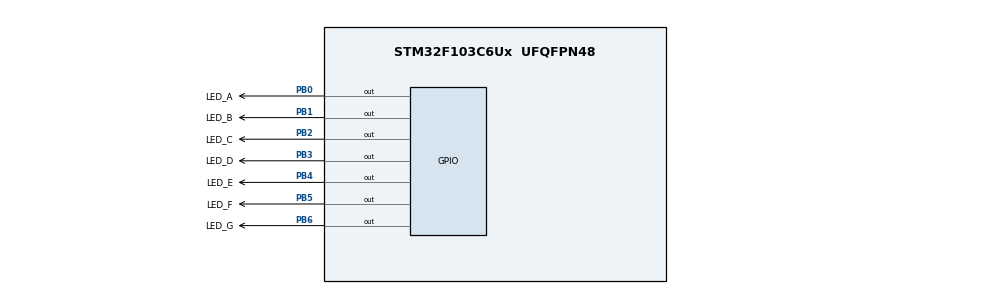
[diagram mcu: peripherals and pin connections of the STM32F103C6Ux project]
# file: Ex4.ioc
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Mcu.Family=STM32F1
Mcu.Name=STM32F103C6Ux
Mcu.Package=UFQFPN48
NVIC.PriorityGroup=NVIC_PRIORITYGROUP_4
PB0.GPIO_Label=LED_A
PB0.Signal=GPIO_Output
PB1.GPIO_Label=LED_B
PB1.Signal=GPIO_Output
PB2.GPIO_Label=LED_C
PB2.Signal=GPIO_Output
PB3.GPIO_Label=LED_D
PB3.Signal=GPIO_Output
PB4.GPIO_Label=LED_E
PB4.Signal=GPIO_Output
PB5.GPIO_Label=LED_F
PB5.Signal=GPIO_Output
PB6.GPIO_Label=LED_G
PB6.Signal=GPIO_Output
ProjectManager.HeapSize=0x200
ProjectManager.StackSize=0x400
ProjectManager.TargetToolchain=STM32CubeIDE
RCC.APB1Freq_Value=8000000
RCC.APB2Freq_Value=8000000
VP_SYS_VS_ND.Mode=No_Debug
board=custom

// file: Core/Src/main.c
/* USER CODE BEGIN Header */
/**
  ******************************************************************************
  * @file           : main.c
  * @brief          : Main program body
  ******************************************************************************
  * @attention
  *
  * <h2><center>&copy; Copyright (c) 2022 STMicroelectronics.
  * All rights reserved.</center></h2>
  *
  * This software component is licensed by ST under BSD 3-Clause license,
  * the "License"; You may not use this file except in compliance with the
  * License. You may obtain a copy of the License at:
  *                        opensource.org/licenses/BSD-3-Clause
  *
  ******************************************************************************
  */
/* USER CODE END Header */
#include "main.h"

void SystemClock_Config(void);
static void MX_GPIO_Init(void);

/* USER CODE BEGIN 0 */
void display7SEG(int num){
	if (num == 0){
		HAL_GPIO_WritePin(LED_A_GPIO_Port, LED_A_Pin, GPIO_PIN_RESET);
		HAL_GPIO_WritePin(LED_B_GPIO_Port, LED_B_Pin, GPIO_PIN_RESET);
		HAL_GPIO_WritePin(LED_C_GPIO_Port, LED_C_Pin, GPIO_PIN_RESET);
		HAL_GPIO_WritePin(LED_D_GPIO_Port, LED_D_Pin, GPIO_PIN_RESET);
		HAL_GPIO_WritePin(LED_E_GPIO_Port, LED_E_Pin, GPIO_PIN_RESET);
		HAL_GPIO_WritePin(LED_F_GPIO_Port, LED_F_Pin, GPIO_PIN_RESET);
		HAL_GPIO_WritePin(LED_G_GPIO_Port, LED_G_Pin, GPIO_PIN_SET);
	}
	else  if (num == 1){
		HAL_GPIO_WritePin(LED_A_GPIO_Port, LED_A_Pin, GPIO_PIN_SET);
		HAL_GPIO_WritePin(LED_B_GPIO_Port, LED_B_Pin, GPIO_PIN_RESET);
		HAL_GPIO_WritePin(LED_C_GPIO_Port, LED_C_Pin, GPIO_PIN_RESET);
		HAL_GPIO_WritePin(LED_D_GPIO_Port, LED_D_Pin, GPIO_PIN_SET);
		HAL_GPIO_WritePin(LED_E_GPIO_Port, LED_E_Pin, GPIO_PIN_SET);
		HAL_GPIO_WritePin(LED_F_GPIO_Port, LED_F_Pin, GPIO_PIN_SET);
		HAL_GPIO_WritePin(LED_G_GPIO_Port, LED_G_Pin, GPIO_PIN_SET);
	}
	else  if (num == 2){
		HAL_GPIO_WritePin(LED_A_GPIO_Port, LED_A_Pin, GPIO_PIN_RESET);
		HAL_GPIO_WritePin(LED_B_GPIO_Port, LED_B_Pin, GPIO_PIN_RESET);
		HAL_GPIO_WritePin(LED_C_GPIO_Port, LED_C_Pin, GPIO_PIN_SET);
		HAL_GPIO_WritePin(LED_D_GPIO_Port, LED_D_Pin, GPIO_PIN_RESET);
		HAL_GPIO_WritePin(LED_E_GPIO_Port, LED_E_Pin, GPIO_PIN_RESET);
		HAL_GPIO_WritePin(LED_F_GPIO_Port, LED_F_Pin, GPIO_PIN_SET);
		HAL_GPIO_WritePin(LED_G_GPIO_Port, LED_G_Pin, GPIO_PIN_RESET);
	}
	else  if (num == 3){
		HAL_GPIO_WritePin(LED_A_GPIO_Port, LED_A_Pin, GPIO_PIN_RESET);
		HAL_GPIO_WritePin(LED_B_GPIO_Port, LED_B_Pin, GPIO_PIN_RESET);
		HAL_GPIO_WritePin(LED_C_GPIO_Port, LED_C_Pin, GPIO_PIN_RESET);
		HAL_GPIO_WritePin(LED_D_GPIO_Port, LED_D_Pin, GPIO_PIN_RESET);
		HAL_GPIO_WritePin(LED_E_GPIO_Port, LED_E_Pin, GPIO_PIN_SET);
		HAL_GPIO_WritePin(LED_F_GPIO_Port, LED_F_Pin, GPIO_PIN_SET);
		HAL_GPIO_WritePin(LED_G_GPIO_Port, LED_G_Pin, GPIO_PIN_RESET);
	}
	else  if (num == 4){
		HAL_GPIO_WritePin(LED_A_GPIO_Port, LED_A_Pin, GPIO_PIN_SET);
		HAL_GPIO_WritePin(LED_B_GPIO_Port, LED_B_Pin, GPIO_PIN_RESET);
		HAL_GPIO_WritePin(LED_C_GPIO_Port, LED_C_Pin, GPIO_PIN_RESET);
		HAL_GPIO_WritePin(LED_D_GPIO_Port, LED_D_Pin, GPIO_PIN_SET);
		HAL_GPIO_WritePin(LED_E_GPIO_Port, LED_E_Pin, GPIO_PIN_SET);
		HAL_GPIO_WritePin(LED_F_GPIO_Port, LED_F_Pin, GPIO_PIN_RESET);
		HAL_GPIO_WritePin(LED_G_GPIO_Port, LED_G_Pin, GPIO_PIN_RESET);
	}
	else  if (num == 5){
		HAL_GPIO_WritePin(LED_A_GPIO_Port, LED_A_Pin, GPIO_PIN_RESET);
		HAL_GPIO_WritePin(LED_B_GPIO_Port, LED_B_Pin, GPIO_PIN_SET);
		HAL_GPIO_WritePin(LED_C_GPIO_Port, LED_C_Pin, GPIO_PIN_RESET);
		HAL_GPIO_WritePin(LED_D_GPIO_Port, LED_D_Pin, GPIO_PIN_RESET);
		HAL_GPIO_WritePin(LED_E_GPIO_Port, LED_E_Pin, GPIO_PIN_SET);
		HAL_GPIO_WritePin(LED_F_GPIO_Port, LED_F_Pin, GPIO_PIN_RESET);
		HAL_GPIO_WritePin(LED_G_GPIO_Port, LED_G_Pin, GPIO_PIN_RESET);
	}
	else  if (num == 6){
		HAL_GPIO_WritePin(LED_A_GPIO_Port, LED_A_Pin, GPIO_PIN_RESET);
		HAL_GPIO_WritePin(LED_B_GPIO_Port, LED_B_Pin, GPIO_PIN_SET);
		HAL_GPIO_WritePin(LED_C_GPIO_Port, LED_C_Pin, GPIO_PIN_RESET);
		HAL_GPIO_WritePin(LED_D_GPIO_Port, LED_D_Pin, GPIO_PIN_RESET);
		HAL_GPIO_WritePin(LED_E_GPIO_Port, LED_E_Pin, GPIO_PIN_RESET);
		HAL_GPIO_WritePin(LED_F_GPIO_Port, LED_F_Pin, GPIO_PIN_RESET);
		HAL_GPIO_WritePin(LED_G_GPIO_Port, LED_G_Pin, GPIO_PIN_RESET);
	}
	else  if (num == 7){
		HAL_GPIO_WritePin(LED_A_GPIO_Port, LED_A_Pin, GPIO_PIN_RESET);
		HAL_GPIO_WritePin(LED_B_GPIO_Port, LED_B_Pin, GPIO_PIN_RESET);
		HAL_GPIO_WritePin(LED_C_GPIO_Port, LED_C_Pin, GPIO_PIN_RESET);
		HAL_GPIO_WritePin(LED_D_GPIO_Port, LED_D_Pin, GPIO_PIN_SET);
		HAL_GPIO_WritePin(LED_E_GPIO_Port, LED_E_Pin, GPIO_PIN_SET);
		HAL_GPIO_WritePin(LED_F_GPIO_Port, LED_F_Pin, GPIO_PIN_SET);
		HAL_GPIO_WritePin(LED_G_GPIO_Port, LED_G_Pin, GPIO_PIN_SET);
	}
	else  if (num == 8){
		HAL_GPIO_WritePin(LED_A_GPIO_Port, LED_A_Pin, GPIO_PIN_RESET);
		HAL_GPIO_WritePin(LED_B_GPIO_Port, LED_B_Pin, GPIO_PIN_RESET);
		HAL_GPIO_WritePin(LED_C_GPIO_Port, LED_C_Pin, GPIO_PIN_RESET);
		HAL_GPIO_WritePin(LED_D_GPIO_Port, LED_D_Pin, GPIO_PIN_RESET);
		HAL_GPIO_WritePin(LED_E_GPIO_Port, LED_E_Pin, GPIO_PIN_RESET);
		HAL_GPIO_WritePin(LED_F_GPIO_Port, LED_F_Pin, GPIO_PIN_RESET);
		HAL_GPIO_WritePin(LED_G_GPIO_Port, LED_G_Pin, GPIO_PIN_RESET);
	}
	else  if (num == 9){
		HAL_GPIO_WritePin(LED_A_GPIO_Port, LED_A_Pin, GPIO_PIN_RESET);
		HAL_GPIO_WritePin(LED_B_GPIO_Port, LED_B_Pin, GPIO_PIN_RESET);
		HAL_GPIO_WritePin(LED_C_GPIO_Port, LED_C_Pin, GPIO_PIN_RESET);
		HAL_GPIO_WritePin(LED_D_GPIO_Port, LED_D_Pin, GPIO_PIN_RESET);
		HAL_GPIO_WritePin(LED_E_GPIO_Port, LED_E_Pin, GPIO_PIN_SET);
		HAL_GPIO_WritePin(LED_F_GPIO_Port, LED_F_Pin, GPIO_PIN_RESET);
		HAL_GPIO_WritePin(LED_G_GPIO_Port, LED_G_Pin, GPIO_PIN_RESET);
	}
}
/* USER CODE END 0 */

int main(void)
{

  /* MCU Configuration--------------------------------------------------------*/

  /* Reset of all peripherals, Initializes the Flash interface and the Systick. */
  HAL_Init();

  /* Configure the system clock */
  SystemClock_Config();

  /* Initialize all configured peripherals */
  MX_GPIO_Init();

  /* Infinite loop */
  /* USER CODE BEGIN WHILE */
int counter = 0;
  while (1)
  {
    /* USER CODE END WHILE */
	  if( counter >= 10) counter = 0;
	  display7SEG ( counter ++) ;
	  HAL_Delay (1000);
  }
}

void SystemClock_Config(void)
{
  RCC_OscInitTypeDef RCC_OscInitStruct = {0};
  RCC_ClkInitTypeDef RCC_ClkInitStruct = {0};

  /** Initializes the RCC Oscillators according to the specified parameters
  * in the RCC_OscInitTypeDef structure.
  */
  RCC_OscInitStruct.OscillatorType = RCC_OSCILLATORTYPE_HSI;
  RCC_OscInitStruct.HSIState = RCC_HSI_ON;
  RCC_OscInitStruct.HSICalibrationValue = RCC_HSICALIBRATION_DEFAULT;
  RCC_OscInitStruct.PLL.PLLState = RCC_PLL_NONE;
  if (HAL_RCC_OscConfig(&RCC_OscInitStruct) != HAL_OK)
  {
    Error_Handler();
  }
  /** Initializes the CPU, AHB and APB buses clocks
  */
  RCC_ClkInitStruct.ClockType = RCC_CLOCKTYPE_HCLK|RCC_CLOCKTYPE_SYSCLK
                              |RCC_CLOCKTYPE_PCLK1|RCC_CLOCKTYPE_PCLK2;
  RCC_ClkInitStruct.SYSCLKSource = RCC_SYSCLKSOURCE_HSI;
  RCC_ClkInitStruct.AHBCLKDivider = RCC_SYSCLK_DIV1;
  RCC_ClkInitStruct.APB1CLKDivider = RCC_HCLK_DIV1;
  RCC_ClkInitStruct.APB2CLKDivider = RCC_HCLK_DIV1;

  if (HAL_RCC_ClockConfig(&RCC_ClkInitStruct, FLASH_LATENCY_0) != HAL_OK)
  {
    Error_Handler();
  }
}

static void MX_GPIO_Init(void)
{
  GPIO_InitTypeDef GPIO_InitStruct = {0};

  /* GPIO Ports Clock Enable */
  __HAL_RCC_GPIOB_CLK_ENABLE();

  /*Configure GPIO pin Output Level */
  HAL_GPIO_WritePin(GPIOB, LED_A_Pin|LED_B_Pin|LED_C_Pin|LED_D_Pin
                          |LED_E_Pin|LED_F_Pin|LED_G_Pin, GPIO_PIN_RESET);

  /*Configure GPIO pins : LED_A_Pin LED_B_Pin LED_C_Pin LED_D_Pin
                           LED_E_Pin LED_F_Pin LED_G_Pin */
  GPIO_InitStruct.Pin = LED_A_Pin|LED_B_Pin|LED_C_Pin|LED_D_Pin
                          |LED_E_Pin|LED_F_Pin|LED_G_Pin;
  GPIO_InitStruct.Mode = GPIO_MODE_OUTPUT_PP;
  GPIO_InitStruct.Pull = GPIO_NOPULL;
  GPIO_InitStruct.Speed = GPIO_SPEED_FREQ_LOW;
  HAL_GPIO_Init(GPIOB, &GPIO_InitStruct);

}

void Error_Handler(void)
{
  __disable_irq();
  while (1)
  {
  }
}

/************************ (C) COPYRIGHT STMicroelectronics *****END OF FILE****/
